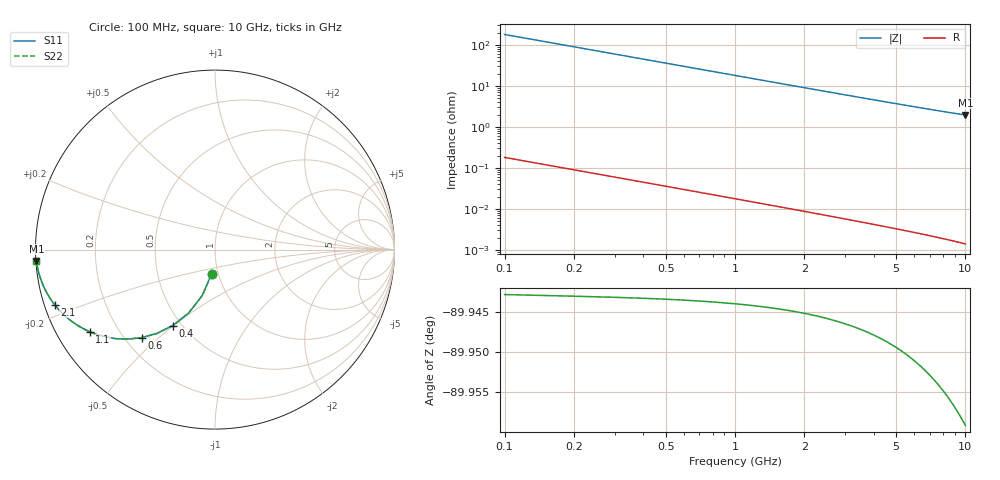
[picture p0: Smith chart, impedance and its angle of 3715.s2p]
# Hz S RI R 50.00
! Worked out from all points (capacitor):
!   100 points, 100 MHz to 10 GHz, reference 50 ohm
!   read as one part in shunt: C = 8.81 pF near 100 MHz
!   lowest |Z| = 1.96 ohm at 10 GHz (marker M1)
!   S11 on the Smith chart (normalised r, x): 100 MHz: 0.93, -0.26; 400 MHz: 0.45, -0.50; 600 MHz: 0.27, -0.44; 1.1 GHz: 0.10, -0.30; 2.1 GHz: 0.03, -0.17; 10 GHz: 0.00, -0.03
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1e8  -0.0189 -0.1357  0.9811 -0.1358  0.9811 -0.1358  -0.0189 -0.1357
2e8  -0.0714 -0.2568  0.9286 -0.2571  0.9286 -0.2571  -0.0714 -0.2568
3e8  -0.1473 -0.3537  0.8527 -0.3541  0.8527 -0.3541  -0.1473 -0.3537
4e8  -0.2347 -0.4231  0.7652 -0.4236  0.7652 -0.4236  -0.2347 -0.4231
5e8  -0.3239 -0.4671  0.6761 -0.4678  0.6761 -0.4678  -0.3239 -0.4671
6e8  -0.4081 -0.4906  0.5919 -0.4914  0.5919 -0.4914  -0.4081 -0.4906
7e8  -0.484 -0.4987  0.516 -0.4997  0.516 -0.4997  -0.484 -0.4987
8e8  -0.5505 -0.4964  0.4495 -0.4975  0.4495 -0.4975  -0.5505 -0.4964
9e8  -0.6077 -0.4871  0.3922 -0.4884  0.3922 -0.4884  -0.6077 -0.4871
1.1e9  -0.6981 -0.4578  0.3018 -0.4593  0.3018 -0.4593  -0.6981 -0.4578
1.2e9  -0.7334 -0.4408  0.2665 -0.4425  0.2665 -0.4425  -0.7334 -0.4408
1.4e9  -0.7891 -0.4064  0.2108 -0.4084  0.2108 -0.4084  -0.7891 -0.4064
1.6e9  -0.8301 -0.3739  0.1699 -0.3762  0.1699 -0.3762  -0.8301 -0.3739
1.8e9  -0.8607 -0.3444  0.1393 -0.347  0.1393 -0.347  -0.8607 -0.3444
2.1e9  -0.8937 -0.3062  0.1063 -0.3092  0.1063 -0.3092  -0.8937 -0.3062
2.7e9  -0.9328 -0.2479  0.0672 -0.2518  0.0672 -0.2518  -0.9328 -0.2479
3.4e9  -0.9565 -0.201  0.0435 -0.2059  0.0435 -0.2059  -0.9565 -0.201
4.2e9  -0.9711 -0.164  0.0289 -0.1701  0.0289 -0.1701  -0.9711 -0.164
5.1e9  -0.9802 -0.135  0.0197 -0.1424  0.0197 -0.1424  -0.9802 -0.135
6.7e9  -0.9885 -0.101  0.0114 -0.1109  0.0114 -0.1109  -0.9885 -0.101
8.4e9  -0.9927 -0.078  0.00719 -0.0905  0.00719 -0.0905  -0.9927 -0.078
1e10  -0.9949 -0.0628  0.00497 -0.0779  0.00497 -0.0779  -0.9949 -0.0628
